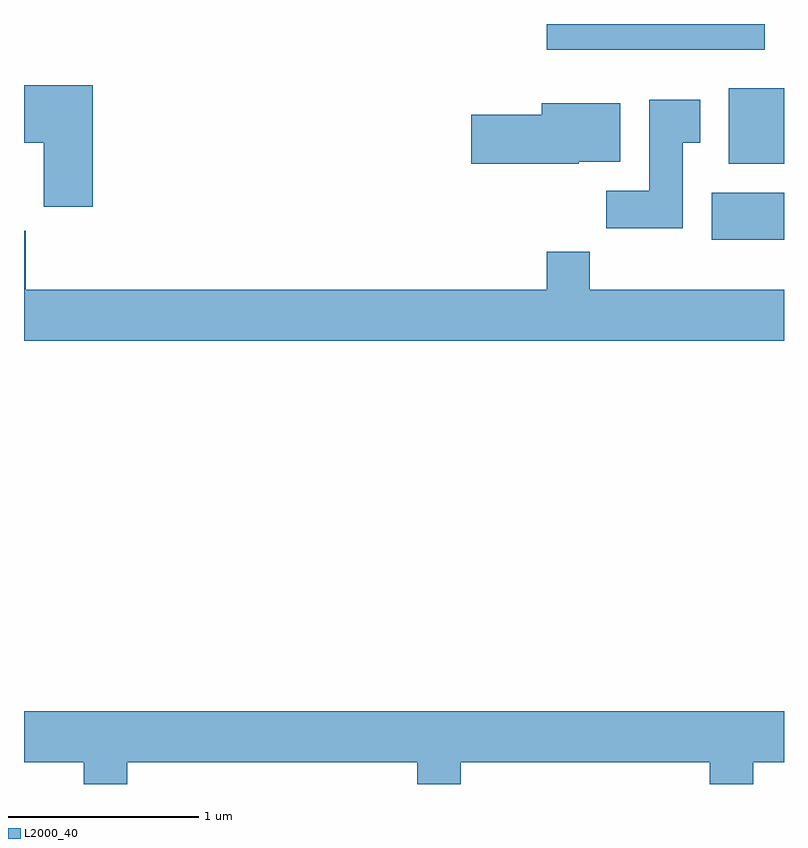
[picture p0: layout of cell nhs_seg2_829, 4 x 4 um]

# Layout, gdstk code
import gdstk
lib = gdstk.Library(unit=1e-6, precision=1e-09)
def R(c, l, rs):  # rectangles x0, y0, x1, y1
    for r in rs: c.add(gdstk.rectangle(r[:2], r[2:], *l))
def P(c, l, *ps):  # polygons
    for p in ps: c.add(gdstk.Polygon(p, *l))
L2000_40 = (2000, 40)

nhs_seg2_829 = lib.new_cell('nhs_seg2_829')
R(nhs_seg2_829, L2000_40, [(213.231,1006.666,213.611,1006.914), (213.321,1007.066,213.611,1007.464), (212.361,1007.666,213.509,1007.802)])
P(nhs_seg2_829, L2000_40, [(209.974,1007.479),(209.611,1007.479),(209.611,1007.176),(209.716,1007.176),(209.716,1006.841),(209.974,1006.841)],
  [(213.079,1007.176),(213.169,1007.176),(213.169,1007.404),(212.901,1007.404),(212.901,1006.924),(212.676,1006.924),(212.676,1006.726),(213.079,1006.726)],
  [(212.53,1007.076),(212.749,1007.076),(212.749,1007.384),(212.336,1007.384),(212.336,1007.324),(211.966,1007.324),(211.966,1007.066),(212.53,1007.066)],
  [(213.611,1006.404),(212.589,1006.404),(212.589,1006.604),(212.361,1006.604),(212.361,1006.404),(209.619,1006.404),(209.619,1006.714),(209.611,1006.714),(209.611,1006.136),(213.611,1006.136)],
  [(210.154,1003.916),(211.681,1003.916),(211.681,1003.802),(211.909,1003.802),(211.909,1003.916),(213.221,1003.916),(213.221,1003.802),(213.449,1003.802),(213.449,1003.916),(213.611,1003.916),(213.611,1004.184),(209.611,1004.184),(209.611,1003.916),(209.926,1003.916),(209.926,1003.802),(210.154,1003.802)])

lib.write_gds('nhs_seg2_829.gds')
